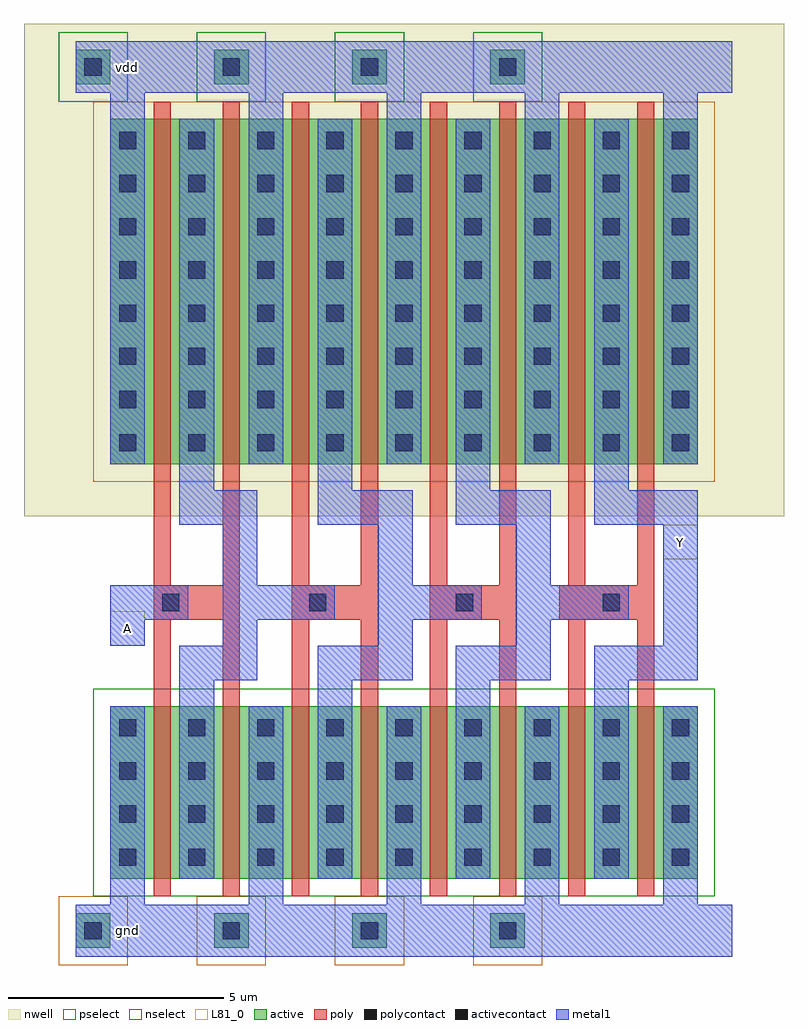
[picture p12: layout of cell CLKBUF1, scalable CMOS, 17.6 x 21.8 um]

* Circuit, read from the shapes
.subckt CLKBUF1 A Y gnd vdd
M1 n1 A gnd gnd nfet w=4u l=0.4u m=2
M2 n2 n1 gnd gnd nfet w=4u l=0.4u m=2
M3 n3 n2 gnd gnd nfet w=4u l=0.4u m=2
M4 Y n3 gnd gnd nfet w=4u l=0.4u m=2
M5 n1 A vdd vdd pfet w=8u l=0.4u m=2
M6 n2 n1 vdd vdd pfet w=8u l=0.4u m=2
M7 n3 n2 vdd vdd pfet w=8u l=0.4u m=2
M8 Y n3 vdd vdd pfet w=8u l=0.4u m=2
.ends

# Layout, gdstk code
import gdstk
lib = gdstk.Library(unit=1e-6, precision=1e-09)
def R(c, l, rs):  # rectangles x0, y0, x1, y1
    for r in rs: c.add(gdstk.rectangle(r[:2], r[2:], *l))
def A(c, l, x, y, w, h, nx, ny, dx, dy):  # array of equal rectangles
    R(c, l, [(x+i*dx, y+j*dy, x+i*dx+w, y+j*dy+h) for i in range(nx) for j in range(ny)])
nwell = (42, 0)
active = (43, 0)
pselect = (44, 0)
nselect = (45, 0)
poly = (46, 0)
polycontact = (47, 0)
activecontact = (48, 0)
metal1 = (49, 0)
L81_0 = (81, 0)

clkbuf1 = lib.new_cell('CLKBUF1')
R(clkbuf1, nwell, [(-1.6,9.6,16,21)])
A(clkbuf1, active, -0.4, -0.4, 0.8, 0.8, 4, 2, 3.2, 20)
R(clkbuf1, active, [(0.4,1.2,14,5.2), (0.4,10.8,14,18.8)])
A(clkbuf1, pselect, -0.8, -0.8, 1.6, 1.6, 4, 1, 3.2, 0)
R(clkbuf1, pselect, [(0,10.4,14.4,19.2)])
A(clkbuf1, nselect, -0.8, 19.2, 1.6, 1.6, 4, 1, 3.2, 0)
R(clkbuf1, nselect, [(0,0.8,14.4,5.6)])
A(clkbuf1, poly, 1.4, 0.8, 0.4, 6.4, 8, 1, 1.6, 0)
A(clkbuf1, poly, 1.4, 7.2, 2, 0.8, 3, 1, 3.2, 0)
A(clkbuf1, poly, 1.4, 8, 0.4, 11.2, 8, 1, 1.6, 0)
R(clkbuf1, poly, [(10.8,7.2,13,8)])
A(clkbuf1, polycontact, 1.6, 7.4, 0.4, 0.4, 4, 1, 3.4, 0)
A(clkbuf1, activecontact, -0.2, -0.2, 0.4, 0.4, 4, 2, 3.2, 20)
A(clkbuf1, activecontact, 0.6, 1.5, 0.4, 0.4, 9, 4, 1.6, 1)
A(clkbuf1, activecontact, 0.6, 11.1, 0.4, 0.4, 9, 8, 1.6, 1)
A(clkbuf1, metal1, 0.4, 0.6, 0.8, 4.6, 5, 1, 3.2, 0)
A(clkbuf1, metal1, 2, 1.2, 0.8, 4.6, 4, 1, 3.2, 0)
A(clkbuf1, metal1, 2, 10.2, 0.8, 8.6, 4, 1, 3.2, 0)
A(clkbuf1, metal1, 0.4, 10.8, 0.8, 8.6, 5, 1, 3.2, 0)
R(clkbuf1, metal1, [(-0.4,-0.6,14.8,0.6), (2,5.8,3.8,6.6), (5.2,5.8,7.4,6.6), (8.4,5.8,10.6,6.6), (11.6,5.8,14,6.6), (0.4,6.6,1.2,7.2), (3,6.6,3.8,7.2), (6.6,6.6,7.4,7.2), (9.8,6.6,10.6,7.2), (13.2,6.6,14,9.4), (0.4,7.2,2.2,8), (3,7.2,5.6,8), (6.6,7.2,9,8), (9.8,7.2,12.4,8), (3,8,3.8,9.4), (6.6,8,7.4,9.4), (9.8,8,10.6,9.4), (2,9.4,3.8,10.2), (5.2,9.4,7.4,10.2), (8.4,9.4,10.6,10.2), (11.6,9.4,14,10.2), (-0.4,19.4,14.8,20.6)])
R(clkbuf1, L81_0, [(0.4,6.6,1.2,7.4), (13.2,8.6,14,9.4)])
clkbuf1.add(gdstk.Label('A', (0.8,7), layer=109, texttype=0))
clkbuf1.add(gdstk.Label('vdd', (0.8,20), layer=109, texttype=0))
clkbuf1.add(gdstk.Label('gnd', (0.8,0), layer=109, texttype=0))
clkbuf1.add(gdstk.Label('Y', (13.6,9), layer=109, texttype=0))

lib.write_gds('CLKBUF1.gds')
